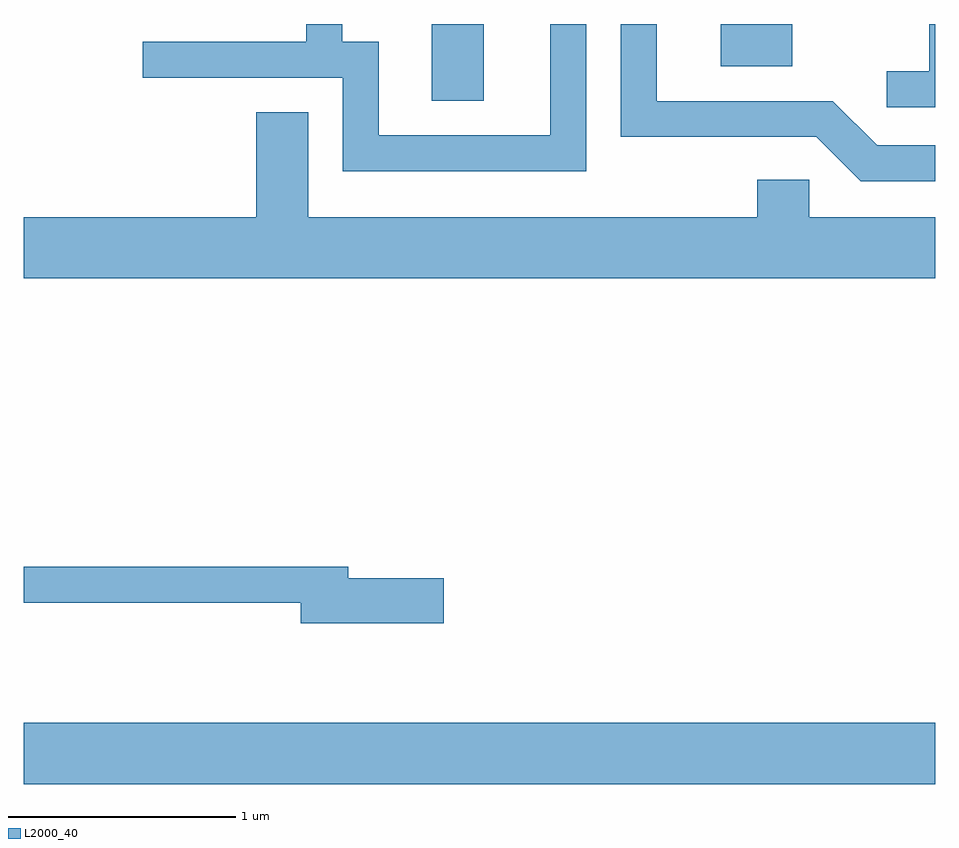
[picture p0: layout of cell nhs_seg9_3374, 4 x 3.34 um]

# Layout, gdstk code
import gdstk
lib = gdstk.Library(unit=1e-6, precision=1e-09)
def R(c, l, rs):  # rectangles x0, y0, x1, y1
    for r in rs: c.add(gdstk.rectangle(r[:2], r[2:], *l))
def P(c, l, *ps):  # polygons
    for p in ps: c.add(gdstk.Polygon(p, *l))
L2000_40 = (2000, 40)

nhs_seg9_3374 = lib.new_cell('nhs_seg9_3374')
R(nhs_seg9_3374, L2000_40, [(283.611,2045.096,287.611,2045.364), (285.401,2048.096,285.629,2048.432), (286.671,2048.246,286.984,2048.432)])
P(nhs_seg9_3374, L2000_40, [(287.611,2047.899),(287.357,2047.899),(287.162,2048.094),(286.389,2048.094),(286.389,2048.432),(286.231,2048.432),(286.231,2047.936),(287.089,2047.936),(287.284,2047.741),(287.611,2047.741)],
  [(286.079,2048.432),(285.921,2048.432),(285.921,2047.944),(285.169,2047.944),(285.169,2048.354),(285.009,2048.354),(285.009,2048.432),(284.851,2048.432),(284.851,2048.354),(284.133,2048.354),(284.133,2048.196),(285.011,2048.196),(285.011,2047.786),(286.079,2047.786)],
  [(287.611,2048.432),(287.586,2048.432),(287.586,2048.224),(287.398,2048.224),(287.398,2048.066),(287.611,2048.066)],
  [(287.611,2047.584),(287.059,2047.584),(287.059,2047.749),(286.831,2047.749),(286.831,2047.584),(284.859,2047.584),(284.859,2048.044),(284.631,2048.044),(284.631,2047.584),(283.611,2047.584),(283.611,2047.316),(287.611,2047.316)],
  [(285.454,2045.999),(285.034,2045.999),(285.034,2046.049),(283.611,2046.049),(283.611,2045.891),(284.826,2045.891),(284.826,2045.801),(285.454,2045.801)])

lib.write_gds('nhs_seg9_3374.gds')
